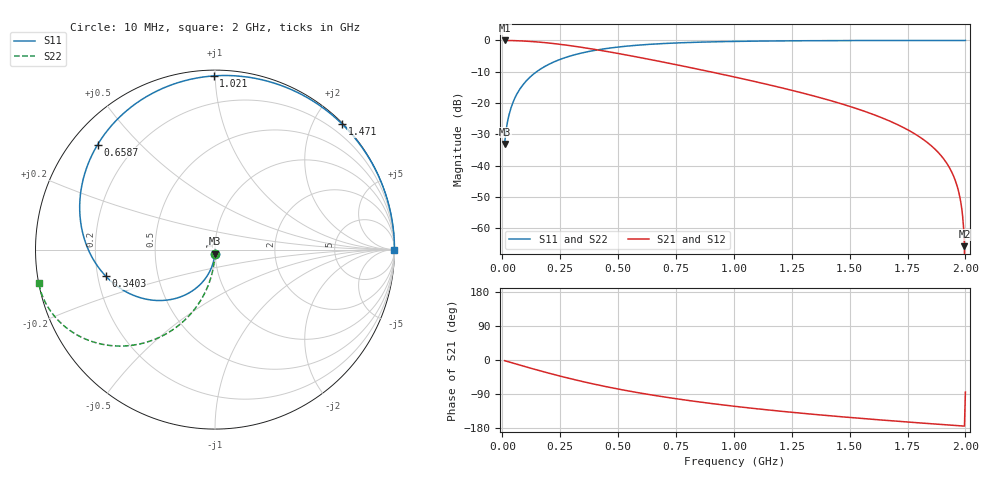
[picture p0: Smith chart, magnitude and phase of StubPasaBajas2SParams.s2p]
! Created Sat Nov 25 14:18:16 2023
# hz S ri R 50
! 2 Port Network Data from SP1.SP block
! freq  reS11  imS11  reS21  imS21  reS12  imS12  reS22  imS22
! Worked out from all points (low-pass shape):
!   501 points, 10 MHz to 2 GHz, reference 50 ohm
!   highest |S21| = 0.00 dB at 10 MHz (marker M1); lowest = -65.7 dB at 1.996 GHz (marker M2)
!   |S21| within 3 dB of the highest: start of sweep to 410.8 MHz
!   lowest |S11| = -33.1 dB at 10 MHz (marker M3), VSWR 1.05, Z = 49.9 - j2.22 ohm
!   |S11| at or under -10 dB: start of sweep to 148 MHz
!   |S22| runs from -33.1 to 0.0 dB; largest |S21 - S12| = 1e-15
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1e7  -0.00093 -0.0222  0.9993 -0.0311  0.9993 -0.0311  -0.000456 -0.0223
4.184e7  -0.0161 -0.0914  0.9873 -0.1292  0.9873 -0.1292  -0.00793 -0.0925
1.0154e8  -0.0907 -0.2022  0.9276 -0.3008  0.9276 -0.3008  -0.0452 -0.217
2.1696e8  -0.3423 -0.2823  0.7126 -0.5434  0.7126 -0.5434  -0.1816 -0.4048
3.4034e8  -0.6095 -0.1471  0.4361 -0.6455  0.4361 -0.6455  -0.364 -0.5105
3.4432e8  -0.6163 -0.1398  0.4275 -0.6464  0.4275 -0.6464  -0.3698 -0.5124
4.9556e8  -0.7533 0.2075  0.1504 -0.6056  0.1504 -0.6056  -0.5687 -0.5359
6.5874e8  -0.6536 0.5855  -0.0304 -0.4787  -0.0304 -0.4787  -0.7223 -0.4982
6.7466e8  -0.6335 0.6169  -0.0422 -0.4651  -0.0422 -0.4651  -0.7341 -0.493
8.3784e8  -0.3653 0.8617  -0.1185 -0.3316  -0.1185 -0.3316  -0.8287 -0.4351
1.005e9  -0.0392 0.9649  -0.1389 -0.2195  -0.1389 -0.2195  -0.8887 -0.3778
1.02092e9  -0.00809 0.9677  -0.1389 -0.2104  -0.1389 -0.2104  -0.8931 -0.3727
1.33932e9  0.5404 0.8311  -0.1051 -0.079  -0.1051 -0.079  -0.9488 -0.2872
1.47066e9  0.7083 0.6993  -0.083 -0.0477  -0.083 -0.0477  -0.9608 -0.2602
1.66966e9  0.889 0.4549  -0.049 -0.0179  -0.049 -0.0179  -0.9726 -0.2267
1.83284e9  0.9722 0.233  -0.0233 -0.00522  -0.0233 -0.00522  -0.9786 -0.2045
1.93234e9  0.9955 0.0943  -0.00901 -0.00131  -0.00901 -0.00131  -0.9812 -0.1928
1.95622e9  0.9981 0.061  -0.00576 -0.000731  -0.00576 -0.000731  -0.9817 -0.1902
1.97612e9  0.9994 0.0332  -0.00311 -0.000348  -0.00311 -0.000348  -0.9821 -0.1881
1.98806e9  0.9999 0.0166  -0.00155 -0.000159  -0.00155 -0.000159  -0.9824 -0.1869
1.99602e9  1 0.00553  -0.000514 -4.97e-05  -0.000514 -4.97e-05  -0.9825 -0.186
2e9  1 1.08e-16  7.68e-13 -8.21e-12  7.68e-13 -8.21e-12  -0.9826 -0.1856
